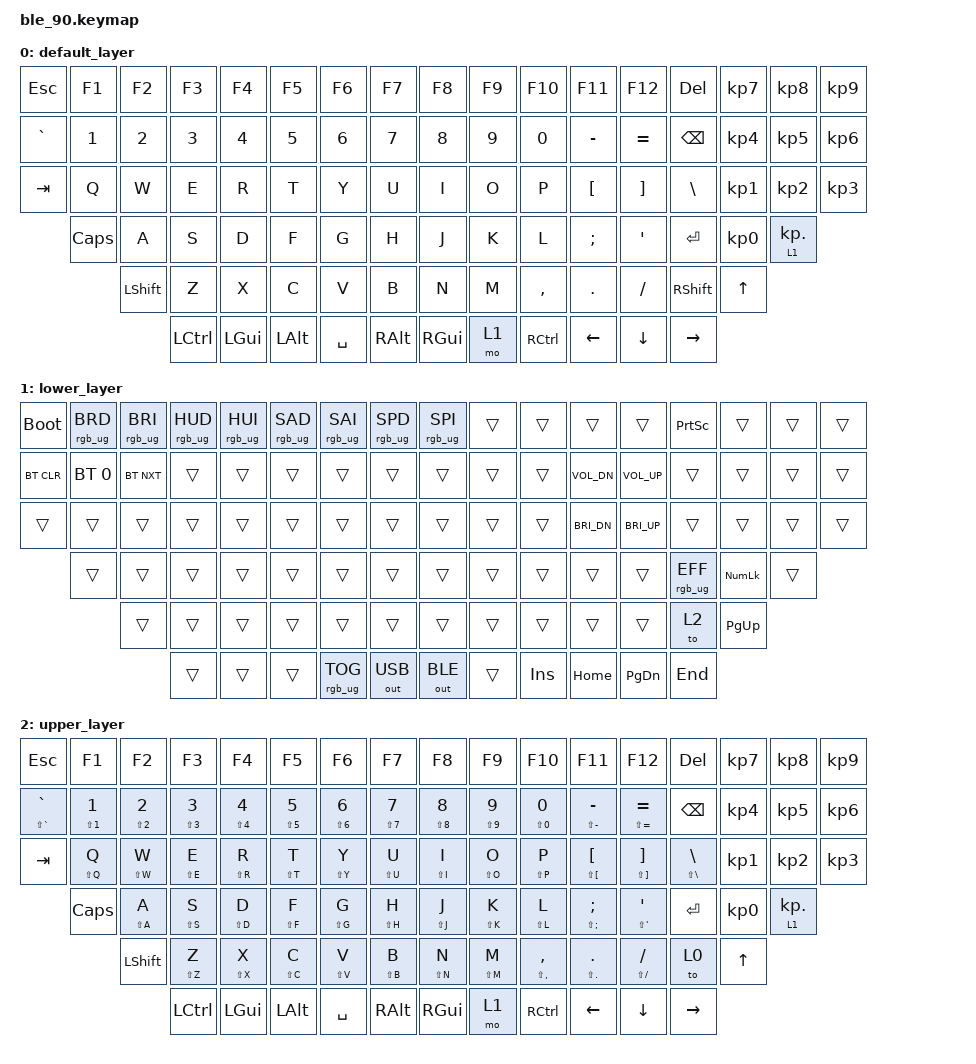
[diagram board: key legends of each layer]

#include <behaviors.dtsi>
#include <dt-bindings/zmk/keys.h>
#include <dt-bindings/zmk/bt.h>
#include <dt-bindings/zmk/outputs.h>
#include <dt-bindings/zmk/rgb.h>
#include <dt-bindings/zmk/ext_power.h>
 
/ { 
		keymap {
			compatible = "zmk,keymap";
			default_layer {
				bindings = <
		&kp ESC &kp F1 &kp F2 &kp F3 &kp F4 &kp F5 &kp F6 &kp F7 &kp F8 &kp F9 &kp F10 &kp F11 &kp F12 &kp DEL &kp KP_N7 &kp KP_N8 &kp KP_N9
		&kp GRAVE &kp N1 &kp N2 &kp N3 &kp N4 &kp N5 &kp N6 &kp N7 &kp N8 &kp N9 &kp N0 &kp MINUS &kp EQUAL &kp BSPC &kp KP_N4 &kp KP_N5 &kp KP_N6 
		&kp TAB &kp Q &kp W &kp E &kp R &kp T &kp Y &kp U &kp I &kp O &kp P &kp LBKT &kp RBKT &kp BSLH &kp KP_N1 &kp KP_N2 &kp KP_N3
		&kp CAPS &kp A &kp S &kp D &kp F &kp G &kp H &kp J &kp K &kp L &kp SEMI &kp SQT &kp RET &kp KP_N0 &lt 1 KP_DOT
		&kp LSHIFT &kp Z &kp X &kp C &kp V &kp B &kp N &kp M &kp COMMA &kp DOT &kp FSLH &kp RSHIFT &kp UP
		&kp LCTRL &kp LGUI &kp LALT &kp SPACE &kp RALT &kp RGUI &mo 1 &kp RCTRL &kp LEFT &kp DOWN &kp RIGHT 
				>;
			};
			lower_layer {
				bindings = <
		&bootloader &rgb_ug RGB_BRD &rgb_ug RGB_BRI &rgb_ug RGB_HUD &rgb_ug RGB_HUI &rgb_ug RGB_SAD &rgb_ug RGB_SAI &rgb_ug RGB_SPD &rgb_ug RGB_SPI &trans &trans &trans &trans &kp PSCRN &trans &trans &trans
		&bt BT_CLR &bt BT_SEL 0 &bt BT_NXT &trans &trans &trans &trans &trans &trans &trans &trans &kp C_VOL_DN &kp C_VOL_UP &trans &trans &trans &trans 
		&trans &trans &trans &trans &trans &trans &trans &trans &trans &trans &trans &kp C_BRI_DN &kp C_BRI_UP &trans &trans &trans &trans 
		&trans &trans &trans &trans &trans &trans &trans &trans &trans &trans &trans &trans &rgb_ug RGB_EFF &kp KP_NLCK &trans 
		&trans &trans &trans &trans &trans &trans &trans &trans &trans &trans &trans &to 2 &kp PG_UP 
		&trans &trans &trans &rgb_ug RGB_TOG &out OUT_USB &out OUT_BLE &trans &kp INS &kp HOME &kp PG_DN &kp END
				>;
			};
			upper_layer {
				bindings = <
		&kp ESC &kp F1 &kp F2 &kp F3 &kp F4 &kp F5 &kp F6 &kp F7 &kp F8 &kp F9 &kp F10 &kp F11 &kp F12 &kp DEL &kp KP_N7 &kp KP_N8 &kp KP_N9
		&mt LS(GRAVE) GRAVE &mt LS(N1) N1 &mt LS(N2) N2 &mt LS(N3) N3 &mt LS(N4) N4 &mt LS(N5) N5 &mt LS(N6) N6 &mt LS(N7) N7 &mt LS(N8) N8 &mt LS(N9) N9 &mt LS(N0) N0 &mt LS(MINUS) MINUS &mt LS(EQUAL) EQUAL &kp BSPC &kp KP_N4 &kp KP_N5 &kp KP_N6 
		&kp TAB &mt LS(Q) Q &mt LS(W) W &mt LS(E) E &mt LS(R) R &mt LS(T) T &mt LS(Y) Y &mt LS(U) U &mt LS(I) I &mt LS(O) O &mt LS(P) P &mt LS(LBKT) LBKT &mt LS(RBKT) RBKT &mt LS(BSLH) BSLH &kp KP_N1 &kp KP_N2 &kp KP_N3
		&kp CAPS &mt LS(A) A &mt LS(S) S &mt LS(D) D &mt LS(F) F &mt LS(G) G &mt LS(H) H &mt LS(J) J &mt LS(K) K &mt LS(L) L &mt LS(SEMI) SEMI &mt LS(SQT) SQT &kp RET &kp KP_N0 &lt 1 KP_DOT
		&kp LSHIFT &mt LS(Z) Z &mt LS(X) X &mt LS(C) C &mt LS(V) V &mt LS(B) B &mt LS(N) N &mt LS(M) M &mt LS(COMMA) COMMA &mt LS(DOT) DOT &mt LS(FSLH) FSLH &to 0 &kp UP
		&kp LCTRL &kp LGUI &kp LALT &kp SPACE &kp RALT &kp RGUI &mo 1 &kp RCTRL &kp LEFT &kp DOWN &kp RIGHT
				>;
			};
		};
};
